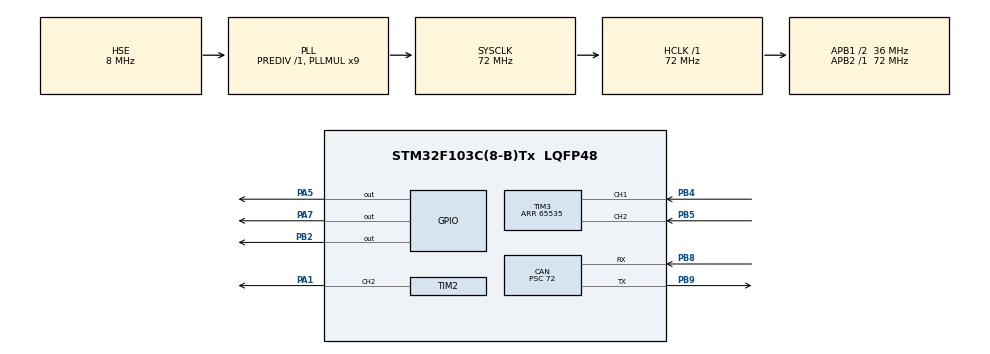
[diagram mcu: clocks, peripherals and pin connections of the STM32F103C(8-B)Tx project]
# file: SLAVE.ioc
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CAN.BS1=CAN_BS1_2TQ
CAN.CalculateBaudRate=125000
CAN.CalculateTimeBit=8000
CAN.CalculateTimeQuantum=2000.0
CAN.Prescaler=72
FREERTOS.Tasks01=defaultTask,0,128,StartDefaultTask,Default,NULL,Dynamic,NULL,NULL;Task02,0,128,Task02_,Default,NULL,Dynamic,NULL,NULL
FREERTOS.configUSE_NEWLIB_REENTRANT=1
Mcu.Family=STM32F1
Mcu.Name=STM32F103C(8-B)Tx
Mcu.Package=LQFP48
NVIC.CAN1_RX1_IRQn=true\:5\:0\:false\:false\:true\:true\:true\:true\:true
NVIC.PriorityGroup=NVIC_PRIORITYGROUP_4
NVIC.TIM1_UP_IRQn=true\:15\:0\:false\:false\:true\:false\:false\:true\:true
NVIC.TimeBase=TIM1_UP_IRQn
NVIC.TimeBaseIP=TIM1
PA1.Signal=S_TIM2_CH2
PA13.Mode=Serial_Wire
PA13.Signal=SYS_JTMS-SWDIO
PA14.Mode=Serial_Wire
PA14.Signal=SYS_JTCK-SWCLK
PA5.Signal=GPIO_Output
PA7.Signal=GPIO_Output
PB2.Signal=GPIO_Output
PB4.Signal=S_TIM3_CH1
PB5.Signal=S_TIM3_CH2
PB8.Mode=CAN_Activate
PB8.Signal=CAN_RX
PB9.Mode=CAN_Activate
PB9.Signal=CAN_TX
PD0-OSC_IN.Mode=HSE-External-Oscillator
PD0-OSC_IN.Signal=RCC_OSC_IN
PD1-OSC_OUT.Mode=HSE-External-Oscillator
PD1-OSC_OUT.Signal=RCC_OSC_OUT
ProjectManager.HeapSize=0x200
ProjectManager.StackSize=0x400
ProjectManager.TargetToolchain=STM32CubeIDE
RCC.AHBFreq_Value=72000000
RCC.APB1CLKDivider=RCC_HCLK_DIV2
RCC.APB1Freq_Value=36000000
RCC.APB1TimFreq_Value=72000000
RCC.APB2Freq_Value=72000000
RCC.APB2TimFreq_Value=72000000
RCC.HCLKFreq_Value=72000000
RCC.PLLMUL=RCC_PLL_MUL9
RCC.PLLSourceVirtual=RCC_PLLSOURCE_HSE
RCC.SYSCLKFreq_VALUE=72000000
RCC.SYSCLKSource=RCC_SYSCLKSOURCE_PLLCLK
RCC.USBFreq_Value=72000000
SH.S_TIM2_CH2.0=TIM2_CH2,PWM Generation2 CH2
SH.S_TIM3_CH1.0=TIM3_CH1,Encoder_Interface
SH.S_TIM3_CH2.0=TIM3_CH2,Encoder_Interface
TIM2.Channel-PWM\ Generation2\ CH2=TIM_CHANNEL_2
TIM2.Period=625
TIM2.Prescaler=127
TIM3.EncoderMode=TIM_ENCODERMODE_TI12
TIM3.Period=65535
VP_FREERTOS_VS_CMSIS_V1.Mode=CMSIS_V1
VP_SYS_VS_tim1.Mode=TIM1
VP_TIM2_VS_ClockSourceINT.Mode=Internal
board=custom

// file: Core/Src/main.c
/* USER CODE BEGIN Header */
/**
  ******************************************************************************
  * @file           : main.c
  * @brief          : Main program body
  ******************************************************************************
  * @attention
  *
  * Copyright (c) 2025 STMicroelectronics.
  * All rights reserved.
  *
  * This software is licensed under terms that can be found in the LICENSE file
  * in the root directory of this software component.
  * If no LICENSE file comes with this software, it is provided AS-IS.
  *
  ******************************************************************************
  */
/* USER CODE END Header */
#include "main.h"

/* USER CODE BEGIN Includes */
#include "FreeRTOS.h"
#include "task.h"
//#include "timers.h"
#include "queue.h"
#include "semphr.h"
//#include "event_groups.h"

#include <stdlib.h>
#include <math.h>
/* USER CODE END Includes */

CAN_HandleTypeDef hcan;

TIM_HandleTypeDef htim2;
TIM_HandleTypeDef htim3;

void SystemClock_Config(void);
static void MX_GPIO_Init(void);
static void MX_CAN_Init(void);
static void MX_TIM2_Init(void);
static void MX_TIM3_Init(void);

/* USER CODE BEGIN 0 */
uint16_t readValue;
CAN_TxHeaderTypeDef TxHeader;
uint32_t TxMailbox;
uint8_t TxData[8]="NIZAR---";

CAN_FilterTypeDef sFilterConfig;
CAN_RxHeaderTypeDef RxHeader;
uint8_t RxData[8];

volatile uint8_t signal_control;
int debug;
uint16_t position;
int speed;

/**************** QUEUE HANDLER ***********************/
xQueueHandle ControlSignalQueue;

/**************** MUTEX HANDLER ***********************/
SemaphoreHandle_t CurrentAngleMutex;

/**************** TASK HANDLER ***********************/
TaskHandle_t ControlMotor_Handler;
TaskHandle_t ReadEncoder_Handler;
TaskHandle_t ToggleLED_Handler;
TaskHandle_t SendMessage_Handler;
TaskHandle_t ReceiveMessage_Handler;

void Task_ControlMotor (void *argument);
void Task_ReadEncoder (void *argument);
void Task_ToggleLED (void *argument);
void Task_SendMessage (void *argument);
void Task_ReceiveMessage (void *argument);

int lastDataRx;
void HAL_CAN_RxFifo1MsgPendingCallback(CAN_HandleTypeDef *hcan)
{
//	BaseType_t xHigherPriorityTaskWoken = pdTRUE;
	HAL_CAN_GetRxMessage(hcan, CAN_RX_FIFO1, &RxHeader, RxData);
//	if(lastDataRx != RxData[7]){
//		lastDataRx = RxData[7];
//		xQueueSendFromISR(ControlSignalQueue, &lastDataRx, &xHigherPriorityTaskWoken);
//		portEND_SWITCHING_ISR(xHigherPriorityTaskWoken);
//	}
	signal_control = RxData[7];

}
/* USER CODE END 0 */

int main(void)
{

  /* MCU Configuration--------------------------------------------------------*/

  /* Reset of all peripherals, Initializes the Flash interface and the Systick. */
  HAL_Init();

  /* Configure the system clock */
  SystemClock_Config();

  /* Initialize all configured peripherals */
  MX_GPIO_Init();
  MX_CAN_Init();
  MX_TIM2_Init();
  MX_TIM3_Init();
  /* USER CODE BEGIN 2 */

  // Init CAN
  HAL_CAN_Start(&hcan);
  // Configure the filter
  sFilterConfig.FilterActivation = CAN_FILTER_ENABLE;
  sFilterConfig.FilterFIFOAssignment = CAN_FILTER_FIFO1;
  sFilterConfig.FilterMode = CAN_FILTERMODE_IDMASK;
  sFilterConfig.FilterIdHigh = 0x6A5<<5;
  sFilterConfig.FilterIdLow = 0;
  sFilterConfig.FilterMaskIdHigh = 0x7FF<<5; // SET 0 to unfilter
  sFilterConfig.FilterMaskIdLow = 0;
  sFilterConfig.FilterScale = CAN_FILTERSCALE_32BIT;
  HAL_CAN_ConfigFilter(&hcan, &sFilterConfig);
  // Activate the notification
  HAL_CAN_ActivateNotification(&hcan, CAN_IT_RX_FIFO1_MSG_PENDING);
  // config tx
  TxHeader.DLC = 8;  // data length
  TxHeader.IDE = CAN_ID_STD;
  TxHeader.RTR = CAN_RTR_DATA;
  TxHeader.StdId = 0x6F5;  // ID can be between Hex1 and Hex7FF (1-2047 decimal)

  // Motor
  HAL_TIM_PWM_Start(&htim2, TIM_CHANNEL_2); //PA1 TIM2 CH2
  HAL_GPIO_WritePin(GPIOA, GPIO_PIN_7, 0);
  HAL_GPIO_WritePin(GPIOA, GPIO_PIN_5, 0);

  // Encoder
  HAL_TIM_Encoder_Start(&htim3, TIM_CHANNEL_ALL);

  // create task
  CurrentAngleMutex = xSemaphoreCreateMutex();
  if (CurrentAngleMutex != NULL)
  {
   debug = 1000;
  }

  ControlSignalQueue = xQueueCreate(5, sizeof (int));

  xTaskCreate(Task_ControlMotor, "ControlMotor", 128, NULL, 1, &ControlMotor_Handler);
  xTaskCreate(Task_ReadEncoder, "EncoderRead", 128, NULL, 3, &ReadEncoder_Handler);
  xTaskCreate(Task_ToggleLED, "ToggleLED", 128, NULL, 1, &ToggleLED_Handler);
  xTaskCreate(Task_SendMessage, "SendMessage", 128, NULL, 2, &SendMessage_Handler);
//  xTaskCreate(Task_ReceiveMessage, "ReceiveMessage", 128, NULL, 4, &ReceiveMessage_Handler);

  vTaskStartScheduler();

  /* USER CODE END 2 */

  /* Infinite loop */
  while (1)
  {

  }
}

void SystemClock_Config(void)
{
  RCC_OscInitTypeDef RCC_OscInitStruct = {0};
  RCC_ClkInitTypeDef RCC_ClkInitStruct = {0};

  /** Initializes the RCC Oscillators according to the specified parameters
  * in the RCC_OscInitTypeDef structure.
  */
  RCC_OscInitStruct.OscillatorType = RCC_OSCILLATORTYPE_HSE;
  RCC_OscInitStruct.HSEState = RCC_HSE_ON;
  RCC_OscInitStruct.HSEPredivValue = RCC_HSE_PREDIV_DIV1;
  RCC_OscInitStruct.HSIState = RCC_HSI_ON;
  RCC_OscInitStruct.PLL.PLLState = RCC_PLL_ON;
  RCC_OscInitStruct.PLL.PLLSource = RCC_PLLSOURCE_HSE;
  RCC_OscInitStruct.PLL.PLLMUL = RCC_PLL_MUL9;
  if (HAL_RCC_OscConfig(&RCC_OscInitStruct) != HAL_OK)
  {
    Error_Handler();
  }

  /** Initializes the CPU, AHB and APB buses clocks
  */
  RCC_ClkInitStruct.ClockType = RCC_CLOCKTYPE_HCLK|RCC_CLOCKTYPE_SYSCLK
                              |RCC_CLOCKTYPE_PCLK1|RCC_CLOCKTYPE_PCLK2;
  RCC_ClkInitStruct.SYSCLKSource = RCC_SYSCLKSOURCE_PLLCLK;
  RCC_ClkInitStruct.AHBCLKDivider = RCC_SYSCLK_DIV1;
  RCC_ClkInitStruct.APB1CLKDivider = RCC_HCLK_DIV2;
  RCC_ClkInitStruct.APB2CLKDivider = RCC_HCLK_DIV1;

  if (HAL_RCC_ClockConfig(&RCC_ClkInitStruct, FLASH_LATENCY_2) != HAL_OK)
  {
    Error_Handler();
  }
}

static void MX_CAN_Init(void)
{

  hcan.Instance = CAN1;
  hcan.Init.Prescaler = 72;
  hcan.Init.Mode = CAN_MODE_NORMAL;
  hcan.Init.SyncJumpWidth = CAN_SJW_1TQ;
  hcan.Init.TimeSeg1 = CAN_BS1_2TQ;
  hcan.Init.TimeSeg2 = CAN_BS2_1TQ;
  hcan.Init.TimeTriggeredMode = DISABLE;
  hcan.Init.AutoBusOff = DISABLE;
  hcan.Init.AutoWakeUp = DISABLE;
  hcan.Init.AutoRetransmission = DISABLE;
  hcan.Init.ReceiveFifoLocked = DISABLE;
  hcan.Init.TransmitFifoPriority = DISABLE;
  if (HAL_CAN_Init(&hcan) != HAL_OK)
  {
    Error_Handler();
  }

}

static void MX_TIM2_Init(void)
{

  TIM_ClockConfigTypeDef sClockSourceConfig = {0};
  TIM_MasterConfigTypeDef sMasterConfig = {0};
  TIM_OC_InitTypeDef sConfigOC = {0};

  htim2.Instance = TIM2;
  htim2.Init.Prescaler = 127;
  htim2.Init.CounterMode = TIM_COUNTERMODE_UP;
  htim2.Init.Period = 625;
  htim2.Init.ClockDivision = TIM_CLOCKDIVISION_DIV1;
  htim2.Init.AutoReloadPreload = TIM_AUTORELOAD_PRELOAD_DISABLE;
  if (HAL_TIM_Base_Init(&htim2) != HAL_OK)
  {
    Error_Handler();
  }
  sClockSourceConfig.ClockSource = TIM_CLOCKSOURCE_INTERNAL;
  if (HAL_TIM_ConfigClockSource(&htim2, &sClockSourceConfig) != HAL_OK)
  {
    Error_Handler();
  }
  if (HAL_TIM_PWM_Init(&htim2) != HAL_OK)
  {
    Error_Handler();
  }
  sMasterConfig.MasterOutputTrigger = TIM_TRGO_RESET;
  sMasterConfig.MasterSlaveMode = TIM_MASTERSLAVEMODE_DISABLE;
  if (HAL_TIMEx_MasterConfigSynchronization(&htim2, &sMasterConfig) != HAL_OK)
  {
    Error_Handler();
  }
  sConfigOC.OCMode = TIM_OCMODE_PWM1;
  sConfigOC.Pulse = 0;
  sConfigOC.OCPolarity = TIM_OCPOLARITY_HIGH;
  sConfigOC.OCFastMode = TIM_OCFAST_DISABLE;
  if (HAL_TIM_PWM_ConfigChannel(&htim2, &sConfigOC, TIM_CHANNEL_2) != HAL_OK)
  {
    Error_Handler();
  }
  HAL_TIM_MspPostInit(&htim2);

}

static void MX_TIM3_Init(void)
{

  TIM_Encoder_InitTypeDef sConfig = {0};
  TIM_MasterConfigTypeDef sMasterConfig = {0};

  htim3.Instance = TIM3;
  htim3.Init.Prescaler = 0;
  htim3.Init.CounterMode = TIM_COUNTERMODE_UP;
  htim3.Init.Period = 65535;
  htim3.Init.ClockDivision = TIM_CLOCKDIVISION_DIV1;
  htim3.Init.AutoReloadPreload = TIM_AUTORELOAD_PRELOAD_DISABLE;
  sConfig.EncoderMode = TIM_ENCODERMODE_TI12;
  sConfig.IC1Polarity = TIM_ICPOLARITY_RISING;
  sConfig.IC1Selection = TIM_ICSELECTION_DIRECTTI;
  sConfig.IC1Prescaler = TIM_ICPSC_DIV1;
  sConfig.IC1Filter = 0;
  sConfig.IC2Polarity = TIM_ICPOLARITY_RISING;
  sConfig.IC2Selection = TIM_ICSELECTION_DIRECTTI;
  sConfig.IC2Prescaler = TIM_ICPSC_DIV1;
  sConfig.IC2Filter = 0;
  if (HAL_TIM_Encoder_Init(&htim3, &sConfig) != HAL_OK)
  {
    Error_Handler();
  }
  sMasterConfig.MasterOutputTrigger = TIM_TRGO_RESET;
  sMasterConfig.MasterSlaveMode = TIM_MASTERSLAVEMODE_DISABLE;
  if (HAL_TIMEx_MasterConfigSynchronization(&htim3, &sMasterConfig) != HAL_OK)
  {
    Error_Handler();
  }

}

static void MX_GPIO_Init(void)
{
  GPIO_InitTypeDef GPIO_InitStruct = {0};

  /* GPIO Ports Clock Enable */
  __HAL_RCC_GPIOD_CLK_ENABLE();
  __HAL_RCC_GPIOA_CLK_ENABLE();
  __HAL_RCC_GPIOB_CLK_ENABLE();

  /*Configure GPIO pin Output Level */
  HAL_GPIO_WritePin(GPIOA, GPIO_PIN_5|GPIO_PIN_7, GPIO_PIN_RESET);

  /*Configure GPIO pin Output Level */
  HAL_GPIO_WritePin(GPIOB, GPIO_PIN_2, GPIO_PIN_RESET);

  /*Configure GPIO pins : PA5 PA7 */
  GPIO_InitStruct.Pin = GPIO_PIN_5|GPIO_PIN_7;
  GPIO_InitStruct.Mode = GPIO_MODE_OUTPUT_PP;
  GPIO_InitStruct.Pull = GPIO_NOPULL;
  GPIO_InitStruct.Speed = GPIO_SPEED_FREQ_LOW;
  HAL_GPIO_Init(GPIOA, &GPIO_InitStruct);

  /*Configure GPIO pin : PB2 */
  GPIO_InitStruct.Pin = GPIO_PIN_2;
  GPIO_InitStruct.Mode = GPIO_MODE_OUTPUT_PP;
  GPIO_InitStruct.Pull = GPIO_NOPULL;
  GPIO_InitStruct.Speed = GPIO_SPEED_FREQ_LOW;
  HAL_GPIO_Init(GPIOB, &GPIO_InitStruct);

}

/* USER CODE BEGIN 4 */
//define task
void Task_ControlMotor(void *argument){
	int current_angle;
	int desire_angle;
	int error;
	float derivative;
	float output;

	float Kp = 15.0f;
	float Ki = 0.5f;
	float Kd = 0.5f;

	float integral = 0.0f;
	float previous_error = 0.0f;

	while(1){
		xSemaphoreTake(CurrentAngleMutex, portMAX_DELAY);

		// Tính góc mong muốn và góc hiện tại
		desire_angle = (signal_control * 90) / 255;
		current_angle = position/257;
		error = desire_angle - current_angle;

		// Tính các thành phần PID
		integral += error;
		derivative = error - previous_error;
		output = Kp * error + Ki * integral + Kd * derivative;
		previous_error = error;

		// Giới hạn output thành giá trị PWM hợp lệ (0–100%)
		if (output > 625) output = 625;
		if (output < -625) output = -625;

		if (fabs(error) > 1) {
			if (output > 0) {
				// Quay phải
				HAL_GPIO_WritePin(GPIOA, GPIO_PIN_5, GPIO_PIN_RESET); // IN1 = 0
				HAL_GPIO_WritePin(GPIOA, GPIO_PIN_7, GPIO_PIN_SET);   // IN2 = 1
			}
			else {
				// Quay trái
				HAL_GPIO_WritePin(GPIOA, GPIO_PIN_5, GPIO_PIN_SET);
				HAL_GPIO_WritePin(GPIOA, GPIO_PIN_7, GPIO_PIN_RESET);
				output = -output; // PWM phải luôn dương
			}
			__HAL_TIM_SET_COMPARE(&htim2, TIM_CHANNEL_2, (uint32_t)output);
			speed = output;
		}
		else {
			// Dừng motor khi đủ chính xác
			HAL_GPIO_WritePin(GPIOA, GPIO_PIN_5, GPIO_PIN_RESET);
			HAL_GPIO_WritePin(GPIOA, GPIO_PIN_7, GPIO_PIN_RESET);
			__HAL_TIM_SET_COMPARE(&htim2, TIM_CHANNEL_2, 0);
			integral = 0.0f;
		}

		xSemaphoreGive(CurrentAngleMutex);
		vTaskDelay(pdMS_TO_TICKS(50)); // PID hoạt động mỗi 50ms
	}
}

void Task_ReadEncoder(void *argument)
{
    while (1)
    {
    	xSemaphoreTake(CurrentAngleMutex, portMAX_DELAY);
    	position = __HAL_TIM_GET_COUNTER(&htim3);
        xSemaphoreGive(CurrentAngleMutex);
        vTaskDelay(100); // đọc mỗi 100ms
    }
}

void Task_ToggleLED(void *argument){
	while(1){
		HAL_GPIO_TogglePin(GPIOB, GPIO_PIN_2);
		vTaskDelay(debug);
	}
}

void Task_SendMessage(void *argument)
{
	while(1){
		xSemaphoreTake(CurrentAngleMutex, portMAX_DELAY);
		TxData[7] = position/257;
		HAL_CAN_AddTxMessage(&hcan, &TxHeader, TxData, &TxMailbox);
		xSemaphoreGive(CurrentAngleMutex);
		vTaskDelay(200);
	}
}

void Task_ReceiveMessage(void *argument)
{
	int received;
	while(1){
		if (xQueueReceive(ControlSignalQueue, &received, portMAX_DELAY) == pdTRUE){
			signal_control = received;
			debug = received;
		}
	}
}

/* USER CODE END 4 */

void HAL_TIM_PeriodElapsedCallback(TIM_HandleTypeDef *htim)
{
  if (htim->Instance == TIM1)
  {
    HAL_IncTick();
  }
}

void Error_Handler(void)
{
  __disable_irq();
  while (1)
  {
  }
}
